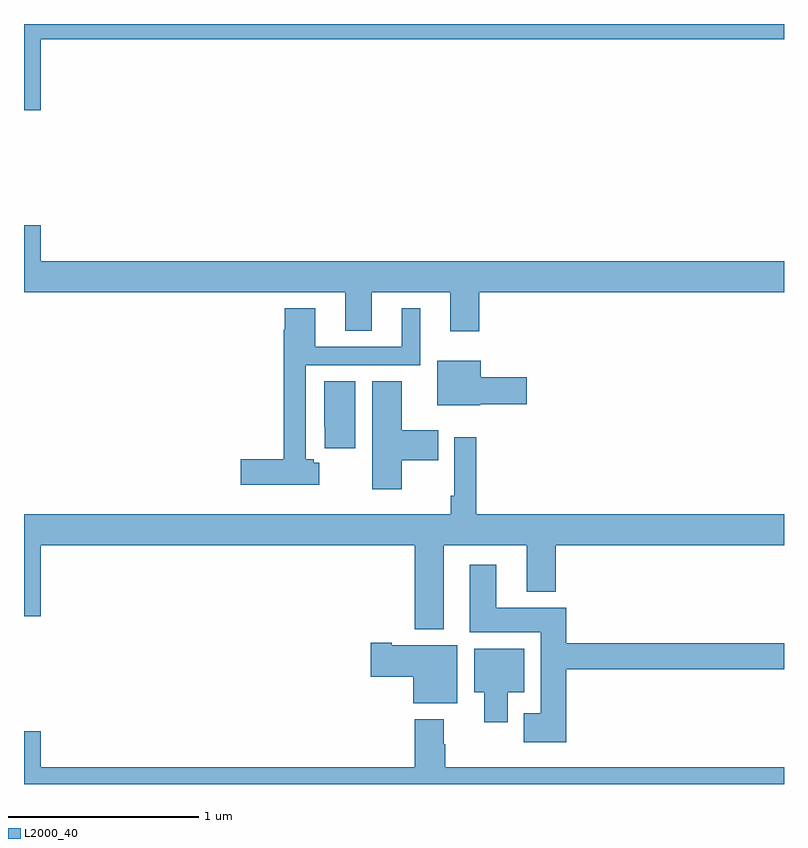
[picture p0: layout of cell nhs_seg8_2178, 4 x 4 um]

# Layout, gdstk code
import gdstk
lib = gdstk.Library(unit=1e-6, precision=1e-09)
def P(c, l, *ps):  # polygons
    for p in ps: c.add(gdstk.Polygon(p, *l))
L2000_40 = (2000, 40)

nhs_seg8_2178 = lib.new_cell('nhs_seg8_2178')
P(nhs_seg8_2178, L2000_40, [(249.088,1129.82),(253,1129.82),(253,1129.9),(249,1129.9),(249,1129.446),(249.088,1129.446)],
  [(251.396,1128.488),(253,1128.488),(253,1128.652),(249.088,1128.652),(249.088,1128.841),(249,1128.841),(249,1128.488),(250.691,1128.488),(250.691,1128.286),(250.831,1128.286),(250.831,1128.488),(251.243,1128.488),(251.243,1128.282),(251.396,1128.282)],
  [(250.553,1127.591),(250.524,1127.591),(250.524,1127.61),(250.482,1127.61),(250.482,1128.105),(251.086,1128.105),(251.086,1128.403),(250.988,1128.403),(250.988,1128.201),(250.534,1128.201),(250.534,1128.403),(250.373,1128.403),(250.373,1128.29),(250.366,1128.29),(250.366,1127.609),(250.14,1127.609),(250.14,1127.474),(250.553,1127.474)],
  [(251.4,1127.9),(251.647,1127.9),(251.647,1128.042),(251.404,1128.042),(251.404,1128.127),(251.174,1128.127),(251.174,1127.894),(251.4,1127.894)],
  [(250.744,1128.02),(250.58,1128.02),(250.58,1127.779),(250.582,1127.779),(250.582,1127.667),(250.744,1127.667)],
  [(250.987,1127.603),(251.18,1127.603),(251.18,1127.761),(250.987,1127.761),(250.987,1128.02),(250.832,1128.02),(250.832,1127.451),(250.987,1127.451)],
  [(251.209,1127.156),(251.645,1127.156),(251.645,1126.913),(251.798,1126.913),(251.798,1127.156),(253,1127.156),(253,1127.32),(251.381,1127.32),(251.381,1127.725),(251.265,1127.725),(251.265,1127.416),(251.245,1127.416),(251.245,1127.32),(249,1127.32),(249,1126.782),(249.088,1126.782),(249.088,1127.156),(251.057,1127.156),(251.057,1126.715),(251.209,1126.715)],
  [(251.855,1126.504),(253,1126.504),(253,1126.64),(251.855,1126.64),(251.855,1126.828),(251.485,1126.828),(251.485,1127.053),(251.345,1127.053),(251.345,1126.7),(251.72,1126.7),(251.72,1126.273),(251.63,1126.273),(251.63,1126.121),(251.855,1126.121)],
  [(251.281,1126.63),(250.936,1126.63),(250.936,1126.643),(250.824,1126.643),(250.824,1126.465),(251.048,1126.465),(251.048,1126.325),(251.281,1126.325)],
  [(251.545,1126.382),(251.632,1126.382),(251.632,1126.612),(251.369,1126.612),(251.369,1126.382),(251.423,1126.382),(251.423,1126.224),(251.545,1126.224)],
  [(253,1125.988),(251.217,1125.988),(251.217,1126.109),(251.209,1126.109),(251.209,1126.24),(251.057,1126.24),(251.057,1125.988),(249.088,1125.988),(249.088,1126.177),(249,1126.177),(249,1125.9),(253,1125.9)])

lib.write_gds('nhs_seg8_2178.gds')
